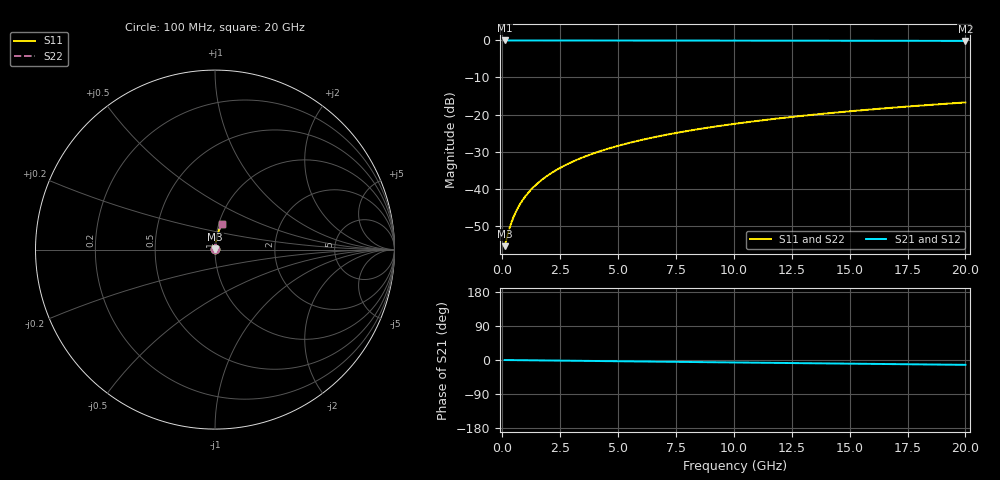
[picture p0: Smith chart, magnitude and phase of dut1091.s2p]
! Touchstone file exported from HFSS 2026.1.0
!  File:  C:/ffzhzh/LocalFiles/Ansys_Project_Files/temp_train_BSMRDL_1091_1783174611_51560.aedt
!  Generated:  10:18:05 PM Jul  4, 2026
!  Design:  BSMRDL
!  Project:  temp_train_BSMRDL_1091_1783174611_51560
! Variables:
!  h_bsmrdl = 3.01um
!  h_ox = 20um
!  h_rdl = 5um
!  h_sub = 80um
!  h_tmrdl = 5um
!  h_tsv = 80um
!  h_via = 3um
!  l_bsmrdl = 145.86um
!  l_sub = 545.86um
!  l_tmrdl = 200um
!  m_sub = 200um
!  pitch = 36.66um
!  r_tsv = 6um
!  s_tmrdl = 10um
!  w_bsmrdl = 13.59um
!  w_sub = 500um
!  w_tmrdl = 12um
!  x_tsv_center1 = 206um
!  x_tsv_center2 = 365.45um
!  x_tsv_center3 = 577.45um
!  x_tsv_center4 = 736.9um
!  x_tsv_center5 = 948.9um
!  x_tsv_center6 = 1108.35um
# GHz S MA R 50.000000
! Terminal data exported
! Port[1] = BSM_RDL1_1_T1
! Port[2] = BSM_RDL1_1_T2
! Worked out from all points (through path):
!   200 points, 100 MHz to 20 GHz, reference 50 ohm
!   highest |S21| = -0.01 dB at 100 MHz (marker M1); lowest = -0.1 dB at 20 GHz (marker M2)
!   group delay of S21, straight-line fit = 1.78 ps
!   lowest |S11| = -55.5 dB at 100 MHz (marker M3), VSWR 1.00, Z = 50.1 + j0.0808 ohm
!   |S11| at or under -10 dB: start of sweep to end of sweep
!   |S22| runs from -55.5 to -16.7 dB; largest |S21 - S12| = 2.4e-15
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0.1  0.001681 28.7  0.9985 -0.1  0.9985 -0.1  0.001681 28.7
! Gamma 0 0 0 0
! Port Impedance 50 0 50 0
0.3  0.002844 57.4  0.9985 -0.2  0.9985 -0.2  0.002844 57.4
0.4  0.003541 63.6  0.9984 -0.3  0.9984 -0.3  0.003541 63.6
0.5  0.004259 67.7  0.9984 -0.3  0.9984 -0.3  0.004259 67.7
0.6  0.004986 70.6  0.9984 -0.4  0.9984 -0.4  0.004986 70.6
0.7  0.005716 72.8  0.9983 -0.5  0.9983 -0.5  0.005716 72.8
0.9  0.007187 75.8  0.9983 -0.6  0.9983 -0.6  0.007187 75.8
1.2  0.009407 78.6  0.9982 -0.8  0.9982 -0.8  0.009407 78.6
1.4  0.01089 79.8  0.9982 -0.9  0.9982 -0.9  0.01089 79.8
1.7  0.01314 81.0  0.9981 -1.1  0.9981 -1.1  0.01314 81.0
2.2  0.01688 82.3  0.998 -1.4  0.998 -1.4  0.01688 82.3
2.8  0.02139 83.1  0.9979 -1.8  0.9979 -1.8  0.02139 83.1
3.5  0.02666 83.4  0.9977 -2.3  0.9977 -2.3  0.02666 83.4
4.2  0.03191 83.5  0.9974 -2.7  0.9974 -2.7  0.03191 83.5
5  0.0379 83.4  0.9971 -3.3  0.9971 -3.3  0.0379 83.4
5.9  0.04462 83.1  0.9967 -3.9  0.9967 -3.9  0.04462 83.1
6.8  0.05131 82.8  0.9962 -4.4  0.9962 -4.4  0.05131 82.8
8.3  0.06238 82.0  0.9953 -5.4  0.9953 -5.4  0.06238 82.0
10.1  0.07555 81.1  0.994 -6.6  0.994 -6.6  0.07555 81.1
13.4  0.09936 79.2  0.9913 -8.7  0.9913 -8.7  0.09936 79.2
16.7  0.1228 77.3  0.9882 -10.7  0.9882 -10.7  0.1228 77.3
20  0.1457 75.4  0.9846 -12.8  0.9846 -12.8  0.1457 75.4
